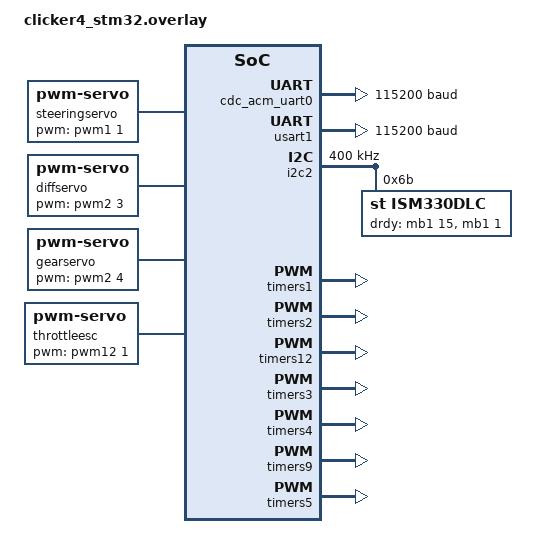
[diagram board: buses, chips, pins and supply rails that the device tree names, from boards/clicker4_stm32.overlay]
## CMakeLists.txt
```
# SPDX-License-Identifier: Apache-2.0

cmake_minimum_required(VERSION 3.13.1)

list(APPEND ZEPHYR_EXTRA_MODULES ${CMAKE_CURRENT_SOURCE_DIR}/../../modules/lib/micro_ros_zephyr_module/modules/libmicroros)
list(APPEND ZEPHYR_EXTRA_MODULES
    ${CMAKE_CURRENT_SOURCE_DIR}/../../drivers
)

find_package(Zephyr REQUIRED HINTS $ENV{ZEPHYR_BASE})
project(simple_microros_publisher C CXX)

# Gather all source files
file(GLOB THREADS_SRC
    ${CMAKE_CURRENT_SOURCE_DIR}/src/threads/**/**/*.c
)

target_sources(app PRIVATE
    src/main.c
    ${THREADS_SRC}
)
```

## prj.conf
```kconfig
CONFIG_GPIO=y
CONFIG_MICROROS=y
CONFIG_CPP=y

CONFIG_MAIN_STACK_SIZE=25000
CONFIG_MAIN_THREAD_PRIORITY=3

CONFIG_NEWLIB_LIBC=y
CONFIG_NEWLIB_LIBC_NANO=n
CONFIG_PTHREAD_IPC=n

CONFIG_POSIX_API=y
CONFIG_POSIX_CLOCK=y

### Micro ROS Configuration
CONFIG_MICROROS_TRANSPORT_SERIAL=y
# CONFIG_MICROROS_TRANSPORT_SERIAL_USB=y

CONFIG_USB_DEVICE_STACK=y
CONFIG_USB_CDC_ACM=y
CONFIG_SERIAL=y
CONFIG_UART_INTERRUPT_DRIVEN=y

CONFIG_SYS_CLOCK_TICKS_PER_SEC=32768
CONFIG_BUILD_OUTPUT_HEX=y

CONFIG_MICROROS_PUBLISHERS="10"
CONFIG_MICROROS_SUBSCRIBERS="10"
CONFIG_MICROROS_CLIENTS="8"
CONFIG_MICROROS_SERVERS="8"
CONFIG_UART_USE_RUNTIME_CONFIGURE=y

### SENSORS

## Enable IMU
CONFIG_ISM330DLC=y
CONFIG_SENSOR=y
CONFIG_I2C=y

#pwm control
CONFIG_STDOUT_CONSOLE=y
CONFIG_PRINTK=y
CONFIG_PWM=y
CONFIG_PRINTK=y
CONFIG_PWM_CAPTURE=y
CONFIG_PINCTRL=y

# dev
CONFIG_UART_CONSOLE=y
CONFIG_FAULT_DUMP=2
CONFIG_THREAD_NAME=y
CONFIG_THREAD_MONITOR=y
```

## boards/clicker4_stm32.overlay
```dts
&cdc_acm_uart0 {// micro ros publishing port
    current-speed = <115200>;
};

&usart1 {// debug uart
    current-speed = <115200>;
};

&i2c2 {
    status = "okay";
    clock-frequency = <I2C_BITRATE_FAST>; // 400 kHz or try FAST_PLUS for 1 MHz
    ism330dlc: ism330dlc@6b {
        status = "okay";
        compatible = "st,ism330dlc";
        drdy-gpios = <&mb1 15 GPIO_ACTIVE_HIGH>,
                     <&mb1  1 GPIO_ACTIVE_HIGH>;
        accel-odr = <8>;      // 1660Hz
        gyro-odr = <8>;       // 1660Hz
        accel-range = <2>;
        gyro-range = <125>;
        reg = <0x6b>;
    };
};


/ {
    chosen {
        zephyr,console = &usart3;
        zephyr,shell-uart = &usart3;
    };
};
#include <zephyr/dt-bindings/pwm/pwm.h>

&pinctrl {
    tim1_ch1_pe9: tim1_ch1_pe9 { pinmux = <STM32_PINMUX('E', 9, AF1)>; };
    tim2_ch3_pb10: tim2_ch3_pb10 { pinmux = <STM32_PINMUX('B', 10, AF1)>; };
    tim2_ch4_pb11: tim2_ch4_pb11 { pinmux = <STM32_PINMUX('B', 11, AF1)>; };
    tim12_ch1_ph6: tim12_ch1_ph6 { pinmux = <STM32_PINMUX('H', 6, AF9)>; };
    tim3_ch1_pa6: tim3_ch1_pa6 { pinmux = <STM32_PINMUX('A', 6, AF2)>; };
    tim3_ch2_pa7: tim3_ch2_pa7 { pinmux = <STM32_PINMUX('A', 7, AF2)>; };
    tim4_ch3_pb8: tim4_ch3_pb8 { pinmux = <STM32_PINMUX('B', 8, AF2)>; };
    tim4_ch4_pb9: tim4_ch4_pb9 { pinmux = <STM32_PINMUX('B', 9, AF2)>; };
    tim5_ch1_ph10: tim5_ch1_ph10 { pinmux = <STM32_PINMUX('H', 10, AF2)>; };
    tim15_ch1_pe4: tim15_ch1_pe4 { pinmux = <STM32_PINMUX('E', 4,  AF2)>; };
    tim9_ch1_pa2: tim9_ch1_pa2 { pinmux = <STM32_PINMUX('A', 2, AF3)>; };
};

&timers1 {
    status = "okay";
    st,prescaler = <1079>;
    pwm1: pwm1 {
        compatible = "st,stm32-pwm";
        status = "okay";
        #pwm-cells = <3>;
        pinctrl-0 = <&tim1_ch1_pe9>;
        pinctrl-names = "default";
    };
};

&timers2 {
    status = "okay";
    st,prescaler = <1079>;
    pwm2: pwm2 {
        compatible = "st,stm32-pwm";
        status = "okay";
        #pwm-cells = <3>;
        pinctrl-0 = <&tim2_ch3_pb10 &tim2_ch4_pb11>;
        pinctrl-names = "default";
    };
};

&timers12 {
    status = "okay";
    st,prescaler = <1079>;
    pwm12: pwm12 {
        compatible = "st,stm32-pwm";
        status = "okay";
        #pwm-cells = <3>;
        pinctrl-0 = <&tim12_ch1_ph6>;
        pinctrl-names = "default";
    };
};

// Servo nodes (for PWM output)
/ {
    steeringservo: servo {
        compatible = "pwm-servo";
        pwms = <&pwm1 1 PWM_MSEC(10) PWM_POLARITY_NORMAL>; // 10ms = 100Hz
        min-pulse = <PWM_USEC(1000)>;
        max-pulse = <PWM_USEC(2100)>;
    };

    diffservo: diff_servo {
        compatible = "pwm-servo";
        pwms = <&pwm2 3 PWM_MSEC(10) PWM_POLARITY_NORMAL>; // 10ms = 100Hz, PB8, TIM4_CH3
        min-pulse = <PWM_USEC(1000)>;
        max-pulse = <PWM_USEC(2100)>;
    };

    gearservo: gear_servo {
        compatible = "pwm-servo";
        pwms = <&pwm2 4 PWM_MSEC(10) PWM_POLARITY_NORMAL>; // 10ms = 100Hz, PB10, TIM2_CH3
        min-pulse = <PWM_USEC(1000)>;
        max-pulse = <PWM_USEC(2100)>;
    };

    throttleesc: throttle_esc {
        compatible = "pwm-servo";
        pwms = <&pwm12 1 PWM_MSEC(10) PWM_POLARITY_NORMAL>; // 10ms = 100Hz, PH6, TIM12_CH1
        min-pulse = <PWM_USEC(1000)>;
        max-pulse = <PWM_USEC(2100)>;
    };
};

// reading pwm




// --- PWM Input Capture Configuration ---
// Use lowest prescaler for 32-bit timers (TIM5), higher for 16-bit to avoid overflow

// steering servo on SDI1 pa6 (TIM3, 16-bit)
&timers3 {
    status = "okay";
    st,prescaler = <107>; // 108MHz / (107+1) = 1MHz (1µs per tick)
    pwm3_in: pwm_in {
        four-channel-capture-support;
        compatible = "st,stm32-pwm";
        status = "okay";
        #pwm-cells = <3>;
        pinctrl-0 = <&tim3_ch1_pa6>;
        pinctrl-names = "default";
    };
};

// diff servo on SCL1 pb8 (TIM4, 16-bit)
&timers4 {
    status = "okay";
    st,prescaler = <107>;
    pwm4_in: pwm4_in {
        four-channel-capture-support;
        compatible = "st,stm32-pwm";
        status = "okay";
        #pwm-cells = <3>;
        pinctrl-0 = <&tim4_ch3_pb8>;
        pinctrl-names = "default";
    };
};

// gear servo on TX2 pa2 (TIM9, 16-bit)
&timers9 {
    status = "okay";
    st,prescaler = <107>;
    pwm9_in: pwm9_in {
        compatible = "st,stm32-pwm";
        #pwm-cells = <3>;
        pinctrl-0 = <&tim9_ch1_pa2>;
        pinctrl-names = "default";
    };
};

// esc pwm on ph10 P5 (TIM5, 32-bit)
&timers5 {
    status = "okay";
    // 32-bit timer: use lowest prescaler for highest resolution
    st,prescaler = <107>;

    pwm5_in: pwm5_in {
        compatible = "st,stm32-pwm";
        #pwm-cells = <3>;
        pinctrl-0 = <&tim5_ch1_ph10>;
        pinctrl-names = "default";
    };
};
```

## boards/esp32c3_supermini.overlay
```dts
/ {
    chosen {
        zephyr,sram = &sram1;
        zephyr,console = &uart0;
        zephyr,shell-uart = &uart0;
        zephyr,flash = &flash0;
        zephyr,code-partition = &slot0_partition;
    };
};

/* Use label references with & */
&uart0 {
    status = "okay";
    current-speed = <115200>;
    pinctrl-0 = <&uart0_default>;
    pinctrl-names = "default";
};

/* Only add this if usb_serial is a valid label in your board's DTS */
&usb_serial {
    current-speed = <115200>;
};
```

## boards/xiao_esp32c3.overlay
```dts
&uart0 {
    current-speed = <921600>;
};
```

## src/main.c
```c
/* Micro-ROS Zephyr base node.
 * - Uses the custom UART transport implemented in zephyr_transport_*.c
 * - Publishes a short diagnostic line at PUBLISH_HZ.              */

#include <version.h>
#if ZEPHYR_VERSION_CODE >= ZEPHYR_VERSION(3, 1, 0)
#include <zephyr/device.h>
#include <zephyr/kernel.h>
#else
#include <device.h>
#include <zephyr.h>
#endif

#include "threads/control/pwm/pwm.h"
#include "threads/sensor/imu/imu_publisher.h"
#include "threads/util/diag/diag_publisher.h"

#include <microros_transports.h>
#include <rcl/error_handling.h>
#include <rcl/rcl.h>
#include <rclc/executor.h>
#include <sensor_msgs/msg/imu.h>
#include <std_msgs/msg/string.h>
#include <stdio.h>
#include <stdlib.h>
#include <string.h>

int main(void) {
    printf("micro‑ROS Zephyr base node\n");
    pwm_in_init();

    for (;;) {
        rmw_uros_set_custom_transport(MICRO_ROS_FRAMING_REQUIRED,
                                      (void *)&default_params,
                                      zephyr_transport_open,
                                      zephyr_transport_close,
                                      zephyr_transport_write,
                                      zephyr_transport_read);

        rcl_allocator_t allocator = rcl_get_default_allocator();
        rclc_support_t support;
        rcl_node_t node;
        rclc_executor_t executor;

        if (rclc_support_init(&support, 0, NULL, &allocator) != RCL_RET_OK) {
            k_sleep(K_MSEC(100));
            continue;
        }
        if (rclc_node_init_default(&node, "zephyr_base_node", "", &support) != RCL_RET_OK) {
            rclc_support_fini(&support);
            k_sleep(K_MSEC(100));
            continue;
        }

        // Initialize executor BEFORE starting IMU or servo
        rclc_executor_init(&executor, &support.context, atoi(CONFIG_MICROROS_PUBLISHERS) + atoi(CONFIG_MICROROS_SUBSCRIBERS), &allocator);

        // Start diagnostic publisher thread
        diag_publisher_init(&node);

        // Start IMU publisher thread
        imu_publisher_init(&node, &executor);

        servo_subscribers_init(&node, &executor);

        pwm_in_publishers_init(&node);

        printf("micro‑ROS ready\n");

        while (1) {
            rclc_executor_spin_some(&executor, 0);
            k_sleep(K_MSEC(1));
        }

    cleanup:
        printf("micro‑ROS error – restarting setup…\n");
        rclc_executor_fini(&executor);
        rcl_node_fini(&node);
        rclc_support_fini(&support);
        k_sleep(K_MSEC(100));
    }
    return 0;
}
```
